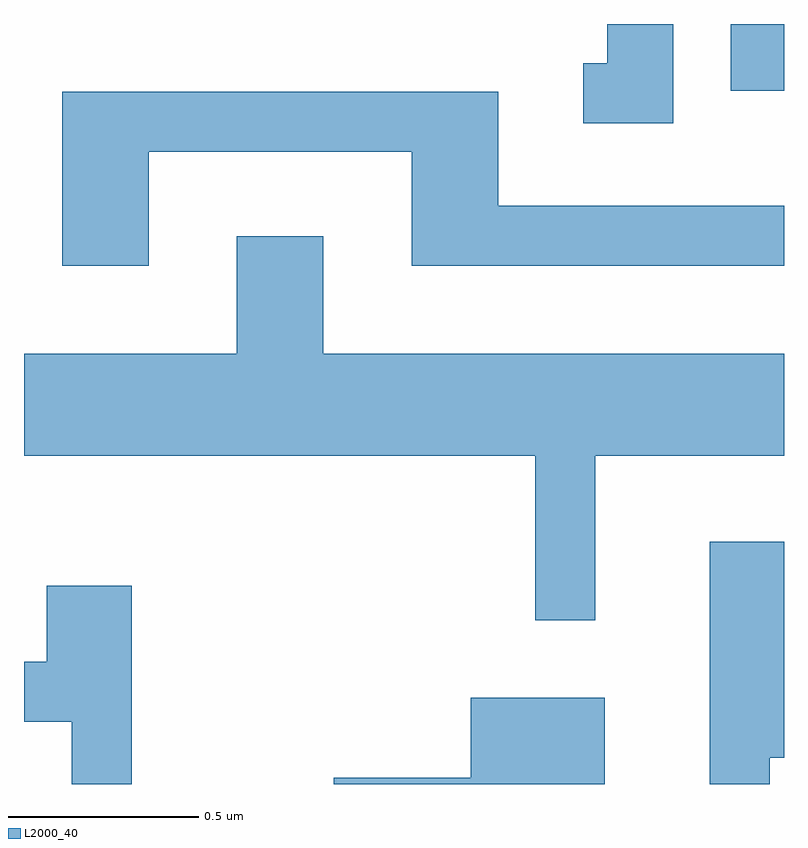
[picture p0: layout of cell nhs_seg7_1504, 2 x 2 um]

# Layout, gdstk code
import gdstk
lib = gdstk.Library(unit=1e-6, precision=1e-09)
def R(c, l, rs):  # rectangles x0, y0, x1, y1
    for r in rs: c.add(gdstk.rectangle(r[:2], r[2:], *l))
def P(c, l, *ps):  # polygons
    for p in ps: c.add(gdstk.Polygon(p, *l))
L2000_40 = (2000, 40)

nhs_seg7_1504 = lib.new_cell('nhs_seg7_1504')
R(nhs_seg7_1504, L2000_40, [(197.471,1804.076,197.611,1804.252)])
P(nhs_seg7_1504, L2000_40, [(197.319,1804.252),(197.146,1804.252),(197.146,1804.149),(197.083,1804.149),(197.083,1803.991),(197.319,1803.991)],
  [(195.939,1803.916),(196.631,1803.916),(196.631,1803.616),(197.611,1803.616),(197.611,1803.774),(196.859,1803.774),(196.859,1804.074),(195.711,1804.074),(195.711,1803.616),(195.939,1803.616)],
  [(197.114,1803.116),(197.611,1803.116),(197.611,1803.384),(196.399,1803.384),(196.399,1803.694),(196.171,1803.694),(196.171,1803.384),(195.611,1803.384),(195.611,1803.116),(196.956,1803.116),(196.956,1802.683),(197.114,1802.683)],
  [(197.574,1802.321),(197.611,1802.321),(197.611,1802.889),(197.416,1802.889),(197.416,1802.252),(197.574,1802.252)],
  [(195.894,1802.774),(195.671,1802.774),(195.671,1802.574),(195.611,1802.574),(195.611,1802.416),(195.736,1802.416),(195.736,1802.252),(195.894,1802.252)],
  [(197.139,1802.479),(196.786,1802.479),(196.786,1802.269),(196.426,1802.269),(196.426,1802.252),(197.139,1802.252)])

lib.write_gds('nhs_seg7_1504.gds')
